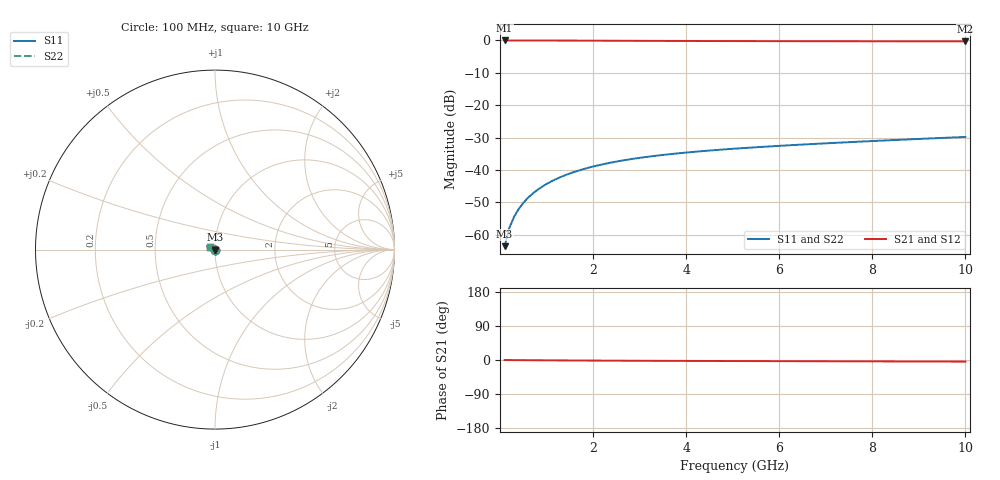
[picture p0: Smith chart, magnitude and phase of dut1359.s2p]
! Touchstone file exported from HFSS 2024.1.0
!  File:  C:/UserFiles/LocalFiles/RDL_TSV_Batchsim/temp_TSV1_1359_1780378077.aedt
!  Generated:  01:32:56 PM Jun  2, 2026
!  Design:  TSV1
!  Project:  temp_TSV1_1359_1780378077
!  Setup:  Setup1
!  Solution:  Sweep
! Variables:
!  dtsv = 7.09um
!  hbump = 3um
!  htsv = 60.65um
!  lrdl = 252.1521522um
!  p = 40
!  p1 = 52um
!  t = 500um
!  trdl = 3um
!  wrdl = 24.89489489um
# GHz S MA R 50.000000
! Terminal data exported
! Port[1] = TSV22_T1
! Port[2] = TSV22_T2
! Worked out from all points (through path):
!   100 points, 100 MHz to 10 GHz, reference 50 ohm
!   highest |S21| = 0.00 dB at 100 MHz (marker M1); lowest = -0.3 dB at 10 GHz (marker M2)
!   lowest |S11| = -63.6 dB at 100 MHz (marker M3), VSWR 1.00, Z = 50 - j0.0628 ohm
!   |S11| at or under -10 dB: start of sweep to end of sweep
!   |S22| runs from -63.6 to -29.8 dB; largest |S21 - S12| = 2.2e-15
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0.1  0.0006642 -70.8  0.9997 -0.1  0.9997 -0.1  0.0006642 -70.8
! Gamma 0 0 0 0
! Port Impedance 50 0 50 0
0.2  0.001259 -83.5  0.9996 -0.2  0.9996 -0.2  0.001259 -83.5
0.3  0.001868 -89.4  0.9995 -0.3  0.9995 -0.3  0.001868 -89.4
0.4  0.002479 -93.5  0.9993 -0.4  0.9993 -0.4  0.002479 -93.5
0.5  0.003088 -96.8  0.9991 -0.4  0.9991 -0.4  0.003088 -96.8
0.6  0.003694 -99.7  0.9988 -0.5  0.9988 -0.5  0.003694 -99.7
0.7  0.004296 -102.4  0.9985 -0.6  0.9985 -0.6  0.004296 -102.4
0.8  0.004891 -105.0  0.9982 -0.7  0.9982 -0.7  0.004891 -105.0
0.9  0.005479 -107.4  0.9978 -0.8  0.9978 -0.8  0.005479 -107.4
1.1  0.00663 -112.0  0.9969 -0.9  0.9969 -0.9  0.00663 -112.0
1.4  0.008282 -118.5  0.9954 -1.1  0.9954 -1.1  0.008282 -118.5
1.6  0.009326 -122.6  0.9943 -1.3  0.9943 -1.3  0.009326 -122.6
1.8  0.01032 -126.5  0.9932 -1.4  0.9932 -1.4  0.01032 -126.5
2.1  0.01173 -132.1  0.9914 -1.6  0.9914 -1.6  0.01173 -132.1
2.5  0.01345 -139.1  0.9891 -1.8  0.9891 -1.8  0.01345 -139.1
2.9  0.01499 -145.6  0.9868 -2.0  0.9868 -2.0  0.01499 -145.6
3.4  0.01671 -153.0  0.9842 -2.2  0.9842 -2.2  0.01671 -153.0
4.2  0.01911 -163.6  0.9806 -2.5  0.9806 -2.5  0.01911 -163.6
5.1  0.02143 -173.7  0.9773 -2.8  0.9773 -2.8  0.02143 -173.7
6.7  0.0251 171.8  0.9733 -3.2  0.9733 -3.2  0.0251 171.8
8.4  0.02879 159.8  0.9704 -3.7  0.9704 -3.7  0.02879 159.8
10  0.03233 150.8  0.9685 -4.2  0.9685 -4.2  0.03233 150.8
